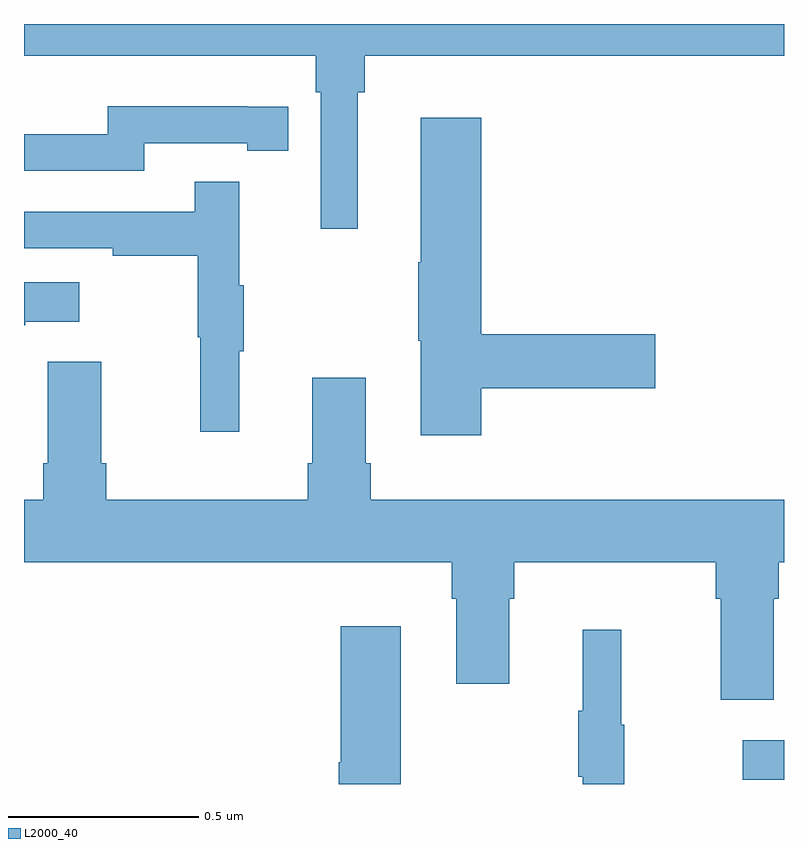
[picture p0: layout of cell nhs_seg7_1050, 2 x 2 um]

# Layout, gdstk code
import gdstk
lib = gdstk.Library(unit=1e-6, precision=1e-09)
def R(c, l, rs):  # rectangles x0, y0, x1, y1
    for r in rs: c.add(gdstk.rectangle(r[:2], r[2:], *l))
def P(c, l, *ps):  # polygons
    for p in ps: c.add(gdstk.Polygon(p, *l))
L2000_40 = (2000, 40)

nhs_seg7_1050 = lib.new_cell('nhs_seg7_1050')
R(nhs_seg7_1050, L2000_40, [(126.891,1032.011,127,1032.115)])
P(nhs_seg7_1050, L2000_40, [(125.878,1033.82),(125.897,1033.82),(125.897,1033.916),(127,1033.916),(127,1034),(125,1034),(125,1033.916),(125.768,1033.916),(125.768,1033.82),(125.781,1033.82),(125.781,1033.461),(125.878,1033.461)],
  [(125.316,1033.686),(125.588,1033.686),(125.588,1033.666),(125.696,1033.666),(125.696,1033.782),(125.588,1033.782),(125.588,1033.783),(125.22,1033.783),(125.22,1033.71),(125,1033.71),(125,1033.614),(125.316,1033.614)],
  [(126.203,1033.042),(126.661,1033.042),(126.661,1033.184),(126.203,1033.184),(126.203,1033.753),(126.044,1033.753),(126.044,1033.373),(126.037,1033.373),(126.037,1033.167),(126.044,1033.167),(126.044,1032.918),(126.203,1032.918)],
  [(125.567,1033.139),(125.578,1033.139),(125.578,1033.313),(125.567,1033.313),(125.567,1033.585),(125.449,1033.585),(125.449,1033.506),(125,1033.506),(125,1033.41),(125.233,1033.41),(125.233,1033.39),(125.457,1033.39),(125.457,1033.176),(125.464,1033.176),(125.464,1032.927),(125.567,1032.927)],
  [(125.003,1033.217),(125.146,1033.217),(125.146,1033.321),(125,1033.321),(125,1033.207),(125.003,1033.207)],
  [(125.912,1032.844),(125.899,1032.844),(125.899,1033.069),(125.759,1033.069),(125.759,1032.844),(125.747,1032.844),(125.747,1032.748),(125.216,1032.748),(125.216,1032.844),(125.203,1032.844),(125.203,1033.111),(125.063,1033.111),(125.063,1032.844),(125.051,1032.844),(125.051,1032.748),(125,1032.748),(125,1032.584),(126.125,1032.584),(126.125,1032.488),(126.137,1032.488),(126.137,1032.264),(126.277,1032.264),(126.277,1032.488),(126.29,1032.488),(126.29,1032.584),(126.821,1032.584),(126.821,1032.488),(126.833,1032.488),(126.833,1032.222),(126.973,1032.222),(126.973,1032.488),(126.986,1032.488),(126.986,1032.584),(127,1032.584),(127,1032.748),(125.912,1032.748)],
  [(125.992,1032.415),(125.834,1032.415),(125.834,1032.057),(125.828,1032.057),(125.828,1032),(125.992,1032)],
  [(126.58,1032.156),(126.572,1032.156),(126.572,1032.406),(126.47,1032.406),(126.47,1032.193),(126.459,1032.193),(126.459,1032.019),(126.47,1032.019),(126.47,1032),(126.58,1032)])

lib.write_gds('nhs_seg7_1050.gds')
